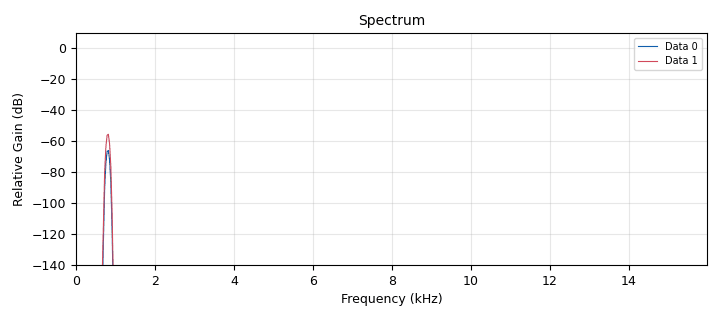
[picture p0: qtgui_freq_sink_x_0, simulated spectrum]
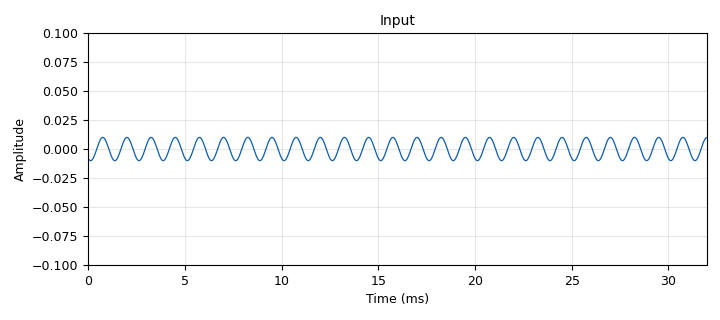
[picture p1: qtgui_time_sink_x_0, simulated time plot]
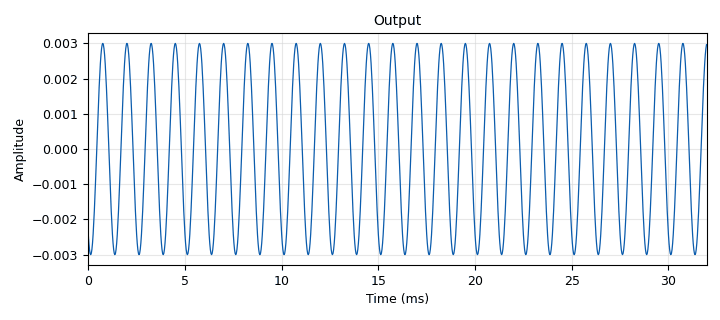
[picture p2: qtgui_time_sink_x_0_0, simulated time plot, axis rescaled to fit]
options:
  parameters:
    generate_options: qt_gui
    id: lab1_2
    output_language: python
    title: Not titled yet
  states: {}

blocks:
- name: gain_value
  id: variable_qtgui_range
  parameters:
    start: '0.1'
    step: '0.1'
    stop: '10.0'
    value: '0.3'
    widget: eng_slider
  states: {}
- name: samp_rate
  id: variable
  parameters:
    value: '32000'
  states: {}
- name: analog_sig_source_x_0
  id: analog_sig_source_x
  parameters:
    amp: '0.01'
    freq: '800'
    offset: '0'
    phase: '0'
    samp_rate: samp_rate
    type: float
    waveform: analog.GR_COS_WAVE
  states: {}
- name: audio_sink_0
  id: audio_sink
  parameters:
    samp_rate: samp_rate
  states: {}
- name: blocks_multiply_const_vxx_0
  id: blocks_multiply_const_vxx
  parameters:
    const: gain_value
    type: float
  states: {}
- name: qtgui_freq_sink_x_0
  id: qtgui_freq_sink_x
  parameters:
    bw: samp_rate
    fc: '0'
    fftsize: '1024'
    freqhalf: 'False'
    name: '"Spectrum"'
    nconnections: '2'
    type: float
  states: {}
- name: qtgui_time_sink_x_0
  id: qtgui_time_sink_x
  parameters:
    name: '"Input"'
    size: '1024'
    srate: samp_rate
    type: float
    ymax: '0.1'
    ymin: '-0.1'
  states: {}
- name: qtgui_time_sink_x_0_0
  id: qtgui_time_sink_x
  parameters:
    name: '"Output"'
    size: '1024'
    srate: samp_rate
    type: float
    ymax: '0.1'
    ymin: '-0.1'
  states: {}

connections:
- [analog_sig_source_x_0, '0', blocks_multiply_const_vxx_0, '0']
- [analog_sig_source_x_0, '0', qtgui_freq_sink_x_0, '1']
- [analog_sig_source_x_0, '0', qtgui_time_sink_x_0, '0']
- [blocks_multiply_const_vxx_0, '0', audio_sink_0, '0']
- [blocks_multiply_const_vxx_0, '0', qtgui_freq_sink_x_0, '0']
- [blocks_multiply_const_vxx_0, '0', qtgui_time_sink_x_0_0, '0']

metadata:
  file_format: 1
  grc_version: 3.10.12.0
